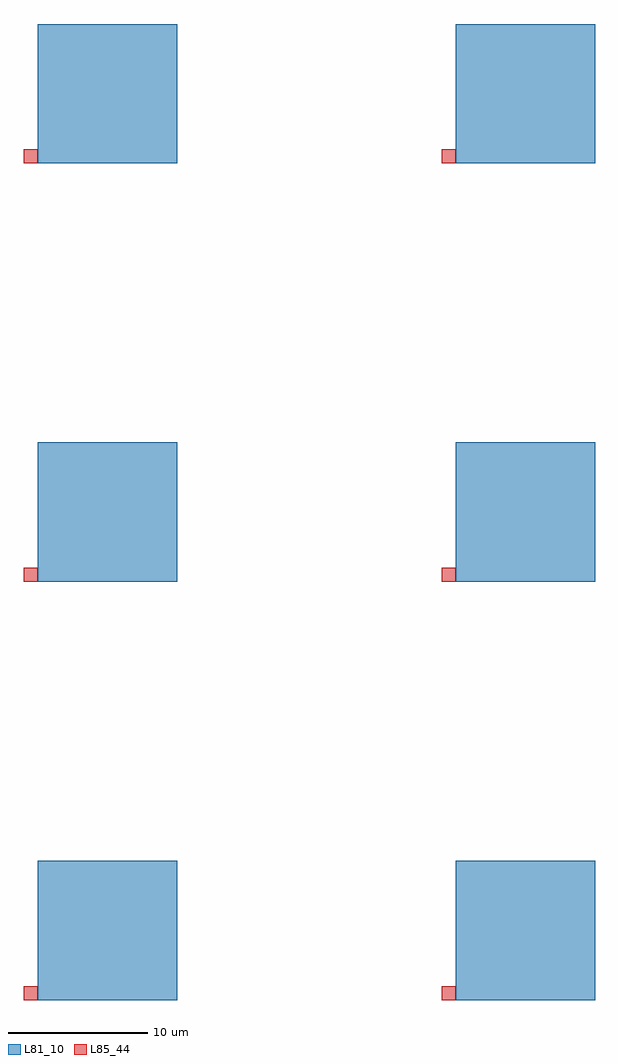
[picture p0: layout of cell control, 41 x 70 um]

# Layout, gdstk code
from math import pi, radians
import gdstk
lib = gdstk.Library(unit=1e-6, precision=1e-09)
def R(c, l, rs):  # rectangles x0, y0, x1, y1
    for r in rs: c.add(gdstk.rectangle(r[:2], r[2:], *l))
L81_10 = (81, 10)
L85_44 = (85, 44)

child = lib.new_cell('child')
R(child, L81_10, [(0,0,10,10)])
R(child, L85_44, [(9.999,0,11,1)])

control = lib.new_cell('control')
r = gdstk.Reference(child, (31,2), rotation=pi, x_reflection=True); r.repetition = gdstk.Repetition(2, 3, v1=(-30,0), v2=(0,30)); control.add(r)

lib.write_gds('control.gds')
